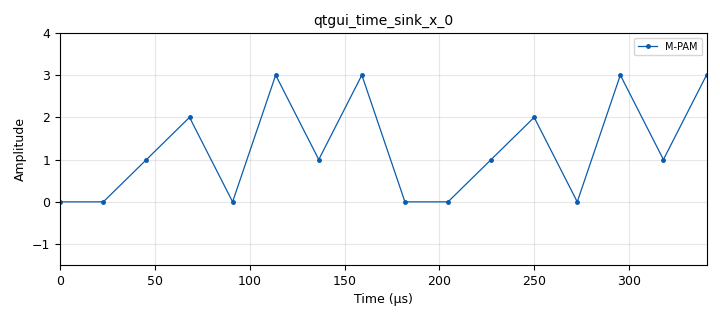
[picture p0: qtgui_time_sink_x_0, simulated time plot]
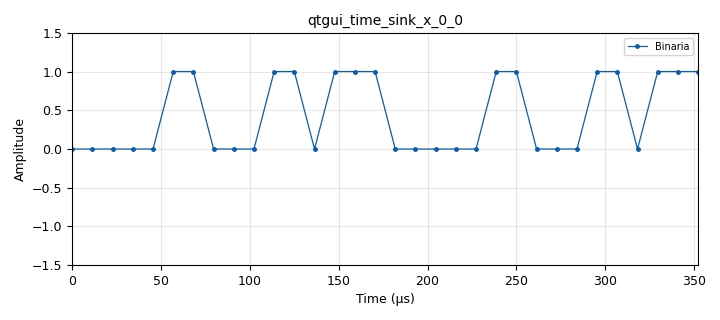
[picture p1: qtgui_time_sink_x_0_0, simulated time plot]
<?xml version='1.0' encoding='utf-8'?>
<?grc format='1' created='3.7.13'?>
<flow_graph>
<block>
<key>options</key>
<param><key>id</key><value>Lab_total</value></param>
<param><key>category</key><value>Custom</value></param>
<param><key>generate_options</key><value>qt_gui</value></param>
<param><key>run</key><value>run_stop</value></param>
</block>
<block>
<key>variable</key>
<param><key>id</key><value>BpS</value></param>
<param><key>value</key><value>int(math.log(M,2))</value></param>
</block>
<block>
<key>variable</key>
<param><key>id</key><value>Constelacion</value></param>
<param><key>value</key><value>digital.constellation_qpsk().points()</value></param>
</block>
<block>
<key>variable</key>
<param><key>id</key><value>Ensayos</value></param>
<param><key>value</key><value>1000000</value></param>
</block>
<block>
<key>variable</key>
<param><key>id</key><value>Fc</value></param>
<param><key>value</key><value>80e6</value></param>
</block>
<block>
<key>variable</key>
<param><key>id</key><value>M</value></param>
<param><key>value</key><value>len(Constelacion)</value></param>
</block>
<block>
<key>variable_constellation</key>
<param><key>id</key><value>MiconstellationObject</value></param>
<param><key>const_points</key><value>Constelacion</value></param>
<param><key>type</key><value>calcdist</value></param>
<param><key>dims</key><value>1</value></param>
<param><key>rot_sym</key><value>4</value></param>
<param><key>precision</key><value>8</value></param>
<param><key>sym_map</key><value></value></param>
</block>
<block>
<key>variable</key>
<param><key>id</key><value>N</value></param>
<param><key>value</key><value>1024</value></param>
</block>
<block>
<key>variable</key>
<param><key>id</key><value>NbpS</value></param>
<param><key>value</key><value>8</value></param>
</block>
<block>
<key>variable</key>
<param><key>id</key><value>NnivelesQ</value></param>
<param><key>value</key><value>math.pow(2,NbpS)</value></param>
</block>
<block>
<key>variable</key>
<param><key>id</key><value>Rb</value></param>
<param><key>value</key><value>NbpS*samp_rate_audio</value></param>
</block>
<block>
<key>variable</key>
<param><key>id</key><value>Rs</value></param>
<param><key>value</key><value>Rb/BpS</value></param>
</block>
<block>
<key>variable</key>
<param><key>id</key><value>Sps</value></param>
<param><key>value</key><value>8</value></param>
</block>
<block>
<key>variable</key>
<param><key>id</key><value>Tmax_scope</value></param>
<param><key>value</key><value>16./samp_rate_audio</value></param>
</block>
<block>
<key>variable</key>
<param><key>id</key><value>Vp</value></param>
<param><key>value</key><value>0.6</value></param>
</block>
<block>
<key>variable_qtgui_check_box</key>
<param><key>id</key><value>run_stop</value></param>
<param><key>value</key><value>True</value></param>
<param><key>false</key><value>False</value></param>
<param><key>gui_hint</key><value>menu@0:0,0,1,2</value></param>
<param><key>label</key><value>Inicial/Parar</value></param>
<param><key>true</key><value>True</value></param>
<param><key>type</key><value>int</value></param>
</block>
<block>
<key>variable</key>
<param><key>id</key><value>samp_rate_audio</value></param>
<param><key>value</key><value>11000</value></param>
</block>
<block>
<key>E3TRadio_Zero_Order_Hold</key>
<param><key>id</key><value>E3TRadio_Zero_Order_Hold_0</value></param>
<param><key>k</key><value>Sps</value></param>
</block>
<block>
<key>E3TRadio_Zero_Order_Hold</key>
<param><key>id</key><value>E3TRadio_Zero_Order_Hold_0_0</value></param>
<param><key>k</key><value>Sps</value></param>
</block>
<block>
<key>E3TRadio_Zero_Order_Hold</key>
<param><key>id</key><value>E3TRadio_Zero_Order_Hold_0_0_0</value></param>
<param><key>k</key><value>BpS</value></param>
</block>
<block>
<key>E3TRadio_unipolar_to_bipolar_ff</key>
<param><key>id</key><value>E3TRadio_unipolar_to_bipolar_ff_0</value></param>
<param><key>Amp</key><value>1.</value></param>
<param><key>_enabled</key><value>0</value></param>
</block>
<block>
<key>E3TRadio_unipolar_to_bipolar_ff</key>
<param><key>id</key><value>E3TRadio_unipolar_to_bipolar_ff_0_1</value></param>
<param><key>Amp</key><value>1.</value></param>
<param><key>_enabled</key><value>0</value></param>
</block>
<block>
<key>virtual_sink</key>
<param><key>id</key><value>Rx_1_0_0_1</value></param>
<param><key>_enabled</key><value>0</value></param>
<param><key>stream_id</key><value>R7</value></param>
</block>
<block>
<key>virtual_sink</key>
<param><key>id</key><value>Tx_1_0</value></param>
<param><key>_enabled</key><value>0</value></param>
<param><key>stream_id</key><value>T8</value></param>
</block>
<block>
<key>virtual_sink</key>
<param><key>id</key><value>Tx_1_0_0</value></param>
<param><key>_enabled</key><value>0</value></param>
<param><key>stream_id</key><value>T7</value></param>
</block>
<block>
<key>virtual_sink</key>
<param><key>id</key><value>Tx_1_0_0_0</value></param>
<param><key>_enabled</key><value>0</value></param>
<param><key>stream_id</key><value>R8</value></param>
</block>
<block>
<key>virtual_sink</key>
<param><key>id</key><value>Tx_1_0_0_1_0_0</value></param>
<param><key>_enabled</key><value>0</value></param>
<param><key>stream_id</key><value>R6</value></param>
</block>
<block>
<key>virtual_sink</key>
<param><key>id</key><value>Tx_1_0_0_2_0</value></param>
<param><key>_enabled</key><value>0</value></param>
<param><key>stream_id</key><value>T6</value></param>
</block>
<block>
<key>virtual_sink</key>
<param><key>id</key><value>Tx_1_0_0_2_1</value></param>
<param><key>_enabled</key><value>0</value></param>
<param><key>stream_id</key><value>T5</value></param>
</block>
<block>
<key>virtual_sink</key>
<param><key>id</key><value>Tx_1_0_0_2_1_0</value></param>
<param><key>stream_id</key><value>T4</value></param>
</block>
<block>
<key>virtual_sink</key>
<param><key>id</key><value>Tx_1_0_0_2_1_1</value></param>
<param><key>stream_id</key><value>T5</value></param>
</block>
<block>
<key>audio_sink</key>
<param><key>id</key><value>audio_sink_0</value></param>
<param><key>_enabled</key><value>0</value></param>
<param><key>samp_rate</key><value>samp_rate_audio</value></param>
</block>
<block>
<key>b_bipolar_to_unipolar_ff</key>
<param><key>id</key><value>b_bipolar_to_unipolar_ff_0</value></param>
<param><key>_enabled</key><value>0</value></param>
</block>
<block>
<key>b_bipolar_to_unipolar_ff</key>
<param><key>id</key><value>b_bipolar_to_unipolar_ff_1</value></param>
<param><key>_enabled</key><value>0</value></param>
</block>
<block>
<key>b_quantizer_fb</key>
<param><key>id</key><value>b_quantizer_fb_0</value></param>
<param><key>_enabled</key><value>0</value></param>
<param><key>NivelesQ</key><value>NnivelesQ</value></param>
<param><key>Vmax</key><value>Vp</value></param>
</block>
<block>
<key>b_scrambling_ff</key>
<param><key>id</key><value>b_scrambling_ff_0</value></param>
<param><key>_enabled</key><value>0</value></param>
<param><key>retardo</key><value>0</value></param>
<param><key>semilla</key><value>42</value></param>
</block>
<block>
<key>b_scrambling_ff</key>
<param><key>id</key><value>b_scrambling_ff_0_0</value></param>
<param><key>_enabled</key><value>0</value></param>
<param><key>retardo</key><value>0</value></param>
<param><key>semilla</key><value>42</value></param>
</block>
<block>
<key>blocks_char_to_float</key>
<param><key>id</key><value>blocks_char_to_float_0</value></param>
<param><key>_enabled</key><value>0</value></param>
<param><key>scale</key><value>1</value></param>
</block>
<block>
<key>blocks_char_to_float</key>
<param><key>id</key><value>blocks_char_to_float_0_0</value></param>
<param><key>_enabled</key><value>0</value></param>
<param><key>scale</key><value>1</value></param>
</block>
<block>
<key>blocks_char_to_float</key>
<param><key>id</key><value>blocks_char_to_float_1</value></param>
<param><key>_enabled</key><value>0</value></param>
<param><key>scale</key><value>1</value></param>
</block>
<block>
<key>blocks_char_to_float</key>
<param><key>id</key><value>blocks_char_to_float_2</value></param>
<param><key>scale</key><value>1</value></param>
</block>
<block>
<key>blocks_char_to_float</key>
<param><key>id</key><value>blocks_char_to_float_2_0</value></param>
<param><key>scale</key><value>1</value></param>
</block>
<block>
<key>blocks_float_to_char</key>
<param><key>id</key><value>blocks_float_to_char_0</value></param>
<param><key>_enabled</key><value>0</value></param>
<param><key>scale</key><value>1</value></param>
</block>
<block>
<key>blocks_float_to_char</key>
<param><key>id</key><value>blocks_float_to_char_1</value></param>
<param><key>_enabled</key><value>0</value></param>
<param><key>scale</key><value>1</value></param>
</block>
<block>
<key>blocks_multiply_const_vxx</key>
<param><key>id</key><value>blocks_multiply_const_vxx_0_0_0</value></param>
<param><key>const</key><value>Vp/(NnivelesQ/2)</value></param>
<param><key>_enabled</key><value>0</value></param>
<param><key>type</key><value>float</value></param>
</block>
<block>
<key>blocks_pack_k_bits_bb</key>
<param><key>id</key><value>blocks_pack_k_bits_bb_0</value></param>
<param><key>_enabled</key><value>0</value></param>
<param><key>k</key><value>NbpS</value></param>
</block>
<block>
<key>blocks_pack_k_bits_bb</key>
<param><key>id</key><value>blocks_pack_k_bits_bb_0_0</value></param>
<param><key>k</key><value>NbpS</value></param>
</block>
<block>
<key>blocks_packed_to_unpacked_xx</key>
<param><key>id</key><value>blocks_packed_to_unpacked_xx_0</value></param>
<param><key>bits_per_chunk</key><value>BpS</value></param>
<param><key>endianness</key><value>gr.GR_MSB_FIRST</value></param>
<param><key>type</key><value>byte</value></param>
</block>
<block>
<key>blocks_unpack_k_bits_bb</key>
<param><key>id</key><value>blocks_unpack_k_bits_bb_0_1</value></param>
<param><key>_enabled</key><value>0</value></param>
<param><key>k</key><value>NbpS</value></param>
</block>
<block>
<key>blocks_unpack_k_bits_bb</key>
<param><key>id</key><value>blocks_unpack_k_bits_bb_0_1_0</value></param>
<param><key>_enabled</key><value>0</value></param>
<param><key>k</key><value>NbpS</value></param>
</block>
<block>
<key>blocks_unpack_k_bits_bb</key>
<param><key>id</key><value>blocks_unpack_k_bits_bb_0_1_1</value></param>
<param><key>k</key><value>NbpS</value></param>
</block>
<block>
<key>blocks_unpacked_to_packed_xx</key>
<param><key>id</key><value>blocks_unpacked_to_packed_xx_0</value></param>
<param><key>bits_per_chunk</key><value>BpS</value></param>
<param><key>_enabled</key><value>0</value></param>
<param><key>endianness</key><value>gr.GR_MSB_FIRST</value></param>
<param><key>type</key><value>byte</value></param>
</block>
<block>
<key>blocks_vector_source_x</key>
<param><key>id</key><value>blocks_vector_source_x_0</value></param>
<param><key>type</key><value>byte</value></param>
<param><key>repeat</key><value>True</value></param>
<param><key>vector</key><value>(6,55)</value></param>
</block>
<block>
<key>blocks_wavfile_source</key>
<param><key>id</key><value>blocks_wavfile_source_0</value></param>
<param><key>_enabled</key><value>0</value></param>
<param><key>file</key><value>/home/comdiguis2/MisGitHubs/Libro_su_software/capitulo4/bush-clinton_debate_waffle.wav</value></param>
<param><key>repeat</key><value>True</value></param>
</block>
<block>
<key>virtual_source</key>
<param><key>id</key><value>e1_0_0_0_0_0_0_0_1</value></param>
<param><key>stream_id</key><value>T4</value></param>
</block>
<block>
<key>virtual_source</key>
<param><key>id</key><value>e1_0_0_0_0_0_0_0_1_0</value></param>
<param><key>stream_id</key><value>T5</value></param>
</block>
<block>
<key>import</key>
<param><key>id</key><value>import_0_1</value></param>
<param><key>import</key><value>import cmath</value></param>
</block>
<block>
<key>import</key>
<param><key>id</key><value>import_0_1_0</value></param>
<param><key>import</key><value>import numpy</value></param>
</block>
<block>
<key>import</key>
<param><key>id</key><value>import_0_1_0_0</value></param>
<param><key>import</key><value>import random</value></param>
</block>
<block>
<key>import</key>
<param><key>id</key><value>import_0_1_1</value></param>
<param><key>import</key><value>import math</value></param>
</block>
<block>
<key>qtgui_tab_widget</key>
<param><key>id</key><value>menu</value></param>
<param><key>label0</key><value>Tab 0</value></param>
<param><key>num_tabs</key><value>1</value></param>
</block>
<block>
<key>note</key>
<param><key>id</key><value>note_0</value></param>
<param><key>_enabled</key><value>0</value></param>
<param><key>note</key><value>CAPA8 MENSAJE</value></param>
</block>
<block>
<key>note</key>
<param><key>id</key><value>note_0_0</value></param>
<param><key>_enabled</key><value>0</value></param>
<param><key>note</key><value>CAPA7 CUANTIFICACION</value></param>
</block>
<block>
<key>note</key>
<param><key>id</key><value>note_0_0_1_2</value></param>
<param><key>note</key><value>INSTRUMENTACION</value></param>
</block>
<block>
<key>note</key>
<param><key>id</key><value>note_0_0_2</value></param>
<param><key>note</key><value>CAPA6 PCM</value></param>
</block>
<block>
<key>note</key>
<param><key>id</key><value>note_0_0_2_0</value></param>
<param><key>note</key><value>CAPA5 Energy dispersal</value></param>
</block>
<block>
<key>note</key>
<param><key>id</key><value>note_0_0_2_0_0</value></param>
<param><key>note</key><value>CAPA4 M-PAM</value></param>
</block>
<block>
<key>qtgui_freq_sink_x</key>
<param><key>id</key><value>qtgui_freq_sink_x_0</value></param>
<param><key>average</key><value>0.05</value></param>
<param><key>bw</key><value>Rb*Sps</value></param>
<param><key>fc</key><value>0</value></param>
<param><key>fftsize</key><value>1024</value></param>
<param><key>gui_hint</key><value>menu@0:1,0,1,1</value></param>
<param><key>label1</key><value>Binaria</value></param>
<param><key>width1</key><value>4</value></param>
<param><key>label2</key><value>M-PAM</value></param>
<param><key>width2</key><value>4</value></param>
<param><key>nconnections</key><value>2</value></param>
<param><key>showports</key><value>True</value></param>
<param><key>type</key><value>float</value></param>
<param><key>wintype</key><value>firdes.WIN_BLACKMAN_hARRIS</value></param>
</block>
<block>
<key>qtgui_time_sink_x</key>
<param><key>id</key><value>qtgui_time_sink_x_0</value></param>
<param><key>gui_hint</key><value>menu@0:3,0</value></param>
<param><key>color1</key><value>"blue"</value></param>
<param><key>label1</key><value>"M-PAM"</value></param>
<param><key>marker1</key><value>0</value></param>
<param><key>width1</key><value>4</value></param>
<param><key>size</key><value>16</value></param>
<param><key>srate</key><value>Rs</value></param>
<param><key>type</key><value>float</value></param>
<param><key>ymax</key><value>M</value></param>
<param><key>ymin</key><value>-1.5</value></param>
</block>
<block>
<key>qtgui_time_sink_x</key>
<param><key>id</key><value>qtgui_time_sink_x_0_0</value></param>
<param><key>gui_hint</key><value>menu@0:2,0</value></param>
<param><key>color1</key><value>"blue"</value></param>
<param><key>label1</key><value>Binaria</value></param>
<param><key>marker1</key><value>0</value></param>
<param><key>width1</key><value>4</value></param>
<param><key>size</key><value>16*BpS</value></param>
<param><key>srate</key><value>Rb</value></param>
<param><key>type</key><value>float</value></param>
<param><key>ymax</key><value>1.5</value></param>
<param><key>ymin</key><value>-1.5</value></param>
</block>
<block>
<key>qtgui_time_sink_x</key>
<param><key>id</key><value>qtgui_time_sink_x_0_0_0</value></param>
<param><key>gui_hint</key><value>menu@0:4,0</value></param>
<param><key>color1</key><value>"blue"</value></param>
<param><key>label1</key><value>Binaria</value></param>
<param><key>width1</key><value>4</value></param>
<param><key>size</key><value>16*BpS*Sps</value></param>
<param><key>srate</key><value>Rb*Sps</value></param>
<param><key>type</key><value>float</value></param>
<param><key>ymax</key><value>1.5</value></param>
<param><key>ymin</key><value>-1.5</value></param>
</block>
<block>
<key>qtgui_time_sink_x</key>
<param><key>id</key><value>qtgui_time_sink_x_0_1</value></param>
<param><key>gui_hint</key><value>menu@0:5,0</value></param>
<param><key>color1</key><value>"blue"</value></param>
<param><key>label1</key><value>"M-PAM"</value></param>
<param><key>width1</key><value>4</value></param>
<param><key>size</key><value>16*Sps</value></param>
<param><key>srate</key><value>Rs*Sps</value></param>
<param><key>type</key><value>float</value></param>
<param><key>ymax</key><value>M</value></param>
<param><key>ymin</key><value>-1.5</value></param>
</block>
<connection><source_block_id>E3TRadio_Zero_Order_Hold_0</source_block_id><sink_block_id>qtgui_freq_sink_x_0</sink_block_id><source_key>0</source_key><sink_key>0</sink_key></connection>
<connection><source_block_id>E3TRadio_Zero_Order_Hold_0</source_block_id><sink_block_id>qtgui_time_sink_x_0_0_0</sink_block_id><source_key>0</source_key><sink_key>0</sink_key></connection>
<connection><source_block_id>E3TRadio_Zero_Order_Hold_0_0</source_block_id><sink_block_id>E3TRadio_Zero_Order_Hold_0_0_0</sink_block_id><source_key>0</source_key><sink_key>0</sink_key></connection>
<connection><source_block_id>E3TRadio_Zero_Order_Hold_0_0</source_block_id><sink_block_id>qtgui_time_sink_x_0_1</sink_block_id><source_key>0</source_key><sink_key>0</sink_key></connection>
<connection><source_block_id>E3TRadio_Zero_Order_Hold_0_0_0</source_block_id><sink_block_id>qtgui_freq_sink_x_0</sink_block_id><source_key>0</source_key><sink_key>1</sink_key></connection>
<connection><source_block_id>E3TRadio_unipolar_to_bipolar_ff_0</source_block_id><sink_block_id>b_scrambling_ff_0</sink_block_id><source_key>0</source_key><sink_key>0</sink_key></connection>
<connection><source_block_id>E3TRadio_unipolar_to_bipolar_ff_0_1</source_block_id><sink_block_id>b_scrambling_ff_0_0</sink_block_id><source_key>0</source_key><sink_key>0</sink_key></connection>
<connection><source_block_id>b_bipolar_to_unipolar_ff_0</source_block_id><sink_block_id>blocks_float_to_char_0</sink_block_id><source_key>0</source_key><sink_key>0</sink_key></connection>
<connection><source_block_id>b_bipolar_to_unipolar_ff_1</source_block_id><sink_block_id>blocks_float_to_char_1</sink_block_id><source_key>0</source_key><sink_key>0</sink_key></connection>
<connection><source_block_id>b_quantizer_fb_0</source_block_id><sink_block_id>Tx_1_0_0</sink_block_id><source_key>0</source_key><sink_key>0</sink_key></connection>
<connection><source_block_id>b_quantizer_fb_0</source_block_id><sink_block_id>blocks_unpack_k_bits_bb_0_1</sink_block_id><source_key>0</source_key><sink_key>0</sink_key></connection>
<connection><source_block_id>b_scrambling_ff_0</source_block_id><sink_block_id>Tx_1_0_0_2_1</sink_block_id><source_key>0</source_key><sink_key>0</sink_key></connection>
<connection><source_block_id>b_scrambling_ff_0</source_block_id><sink_block_id>b_bipolar_to_unipolar_ff_1</sink_block_id><source_key>0</source_key><sink_key>0</sink_key></connection>
<connection><source_block_id>b_scrambling_ff_0_0</source_block_id><sink_block_id>b_bipolar_to_unipolar_ff_0</sink_block_id><source_key>0</source_key><sink_key>0</sink_key></connection>
<connection><source_block_id>blocks_char_to_float_0</source_block_id><sink_block_id>blocks_multiply_const_vxx_0_0_0</sink_block_id><source_key>0</source_key><sink_key>0</sink_key></connection>
<connection><source_block_id>blocks_char_to_float_0_0</source_block_id><sink_block_id>E3TRadio_unipolar_to_bipolar_ff_0</sink_block_id><source_key>0</source_key><sink_key>0</sink_key></connection>
<connection><source_block_id>blocks_char_to_float_1</source_block_id><sink_block_id>E3TRadio_unipolar_to_bipolar_ff_0_1</sink_block_id><source_key>0</source_key><sink_key>0</sink_key></connection>
<connection><source_block_id>blocks_char_to_float_2</source_block_id><sink_block_id>E3TRadio_Zero_Order_Hold_0_0</sink_block_id><source_key>0</source_key><sink_key>0</sink_key></connection>
<connection><source_block_id>blocks_char_to_float_2</source_block_id><sink_block_id>qtgui_time_sink_x_0</sink_block_id><source_key>0</source_key><sink_key>0</sink_key></connection>
<connection><source_block_id>blocks_char_to_float_2_0</source_block_id><sink_block_id>E3TRadio_Zero_Order_Hold_0</sink_block_id><source_key>0</source_key><sink_key>0</sink_key></connection>
<connection><source_block_id>blocks_char_to_float_2_0</source_block_id><sink_block_id>qtgui_time_sink_x_0_0</sink_block_id><source_key>0</source_key><sink_key>0</sink_key></connection>
<connection><source_block_id>blocks_float_to_char_0</source_block_id><sink_block_id>Tx_1_0_0_1_0_0</sink_block_id><source_key>0</source_key><sink_key>0</sink_key></connection>
<connection><source_block_id>blocks_float_to_char_0</source_block_id><sink_block_id>blocks_pack_k_bits_bb_0</sink_block_id><source_key>0</source_key><sink_key>0</sink_key></connection>
<connection><source_block_id>blocks_float_to_char_1</source_block_id><sink_block_id>blocks_pack_k_bits_bb_0_0</sink_block_id><source_key>0</source_key><sink_key>0</sink_key></connection>
<connection><source_block_id>blocks_multiply_const_vxx_0_0_0</source_block_id><sink_block_id>Tx_1_0_0_0</sink_block_id><source_key>0</source_key><sink_key>0</sink_key></connection>
<connection><source_block_id>blocks_multiply_const_vxx_0_0_0</source_block_id><sink_block_id>audio_sink_0</sink_block_id><source_key>0</source_key><sink_key>0</sink_key></connection>
<connection><source_block_id>blocks_pack_k_bits_bb_0</source_block_id><sink_block_id>Rx_1_0_0_1</sink_block_id><source_key>0</source_key><sink_key>0</sink_key></connection>
<connection><source_block_id>blocks_pack_k_bits_bb_0</source_block_id><sink_block_id>blocks_char_to_float_0</sink_block_id><source_key>0</source_key><sink_key>0</sink_key></connection>
<connection><source_block_id>blocks_pack_k_bits_bb_0_0</source_block_id><sink_block_id>blocks_packed_to_unpacked_xx_0</sink_block_id><source_key>0</source_key><sink_key>0</sink_key></connection>
<connection><source_block_id>blocks_packed_to_unpacked_xx_0</source_block_id><sink_block_id>Tx_1_0_0_2_1_0</sink_block_id><source_key>0</source_key><sink_key>0</sink_key></connection>
<connection><source_block_id>blocks_packed_to_unpacked_xx_0</source_block_id><sink_block_id>blocks_unpacked_to_packed_xx_0</sink_block_id><source_key>0</source_key><sink_key>0</sink_key></connection>
<connection><source_block_id>blocks_unpack_k_bits_bb_0_1</source_block_id><sink_block_id>Tx_1_0_0_2_0</sink_block_id><source_key>0</source_key><sink_key>0</sink_key></connection>
<connection><source_block_id>blocks_unpack_k_bits_bb_0_1</source_block_id><sink_block_id>blocks_char_to_float_0_0</sink_block_id><source_key>0</source_key><sink_key>0</sink_key></connection>
<connection><source_block_id>blocks_unpack_k_bits_bb_0_1_0</source_block_id><sink_block_id>blocks_char_to_float_1</sink_block_id><source_key>0</source_key><sink_key>0</sink_key></connection>
<connection><source_block_id>blocks_unpack_k_bits_bb_0_1_1</source_block_id><sink_block_id>Tx_1_0_0_2_1_1</sink_block_id><source_key>0</source_key><sink_key>0</sink_key></connection>
<connection><source_block_id>blocks_unpack_k_bits_bb_0_1_1</source_block_id><sink_block_id>blocks_pack_k_bits_bb_0_0</sink_block_id><source_key>0</source_key><sink_key>0</sink_key></connection>
<connection><source_block_id>blocks_unpacked_to_packed_xx_0</source_block_id><sink_block_id>blocks_unpack_k_bits_bb_0_1_0</sink_block_id><source_key>0</source_key><sink_key>0</sink_key></connection>
<connection><source_block_id>blocks_vector_source_x_0</source_block_id><sink_block_id>blocks_unpack_k_bits_bb_0_1_1</sink_block_id><source_key>0</source_key><sink_key>0</sink_key></connection>
<connection><source_block_id>blocks_wavfile_source_0</source_block_id><sink_block_id>Tx_1_0</sink_block_id><source_key>0</source_key><sink_key>0</sink_key></connection>
<connection><source_block_id>blocks_wavfile_source_0</source_block_id><sink_block_id>b_quantizer_fb_0</sink_block_id><source_key>0</source_key><sink_key>0</sink_key></connection>
<connection><source_block_id>e1_0_0_0_0_0_0_0_1</source_block_id><sink_block_id>blocks_char_to_float_2</sink_block_id><source_key>0</source_key><sink_key>0</sink_key></connection>
<connection><source_block_id>e1_0_0_0_0_0_0_0_1_0</source_block_id><sink_block_id>blocks_char_to_float_2_0</sink_block_id><source_key>0</source_key><sink_key>0</sink_key></connection>
</flow_graph>
